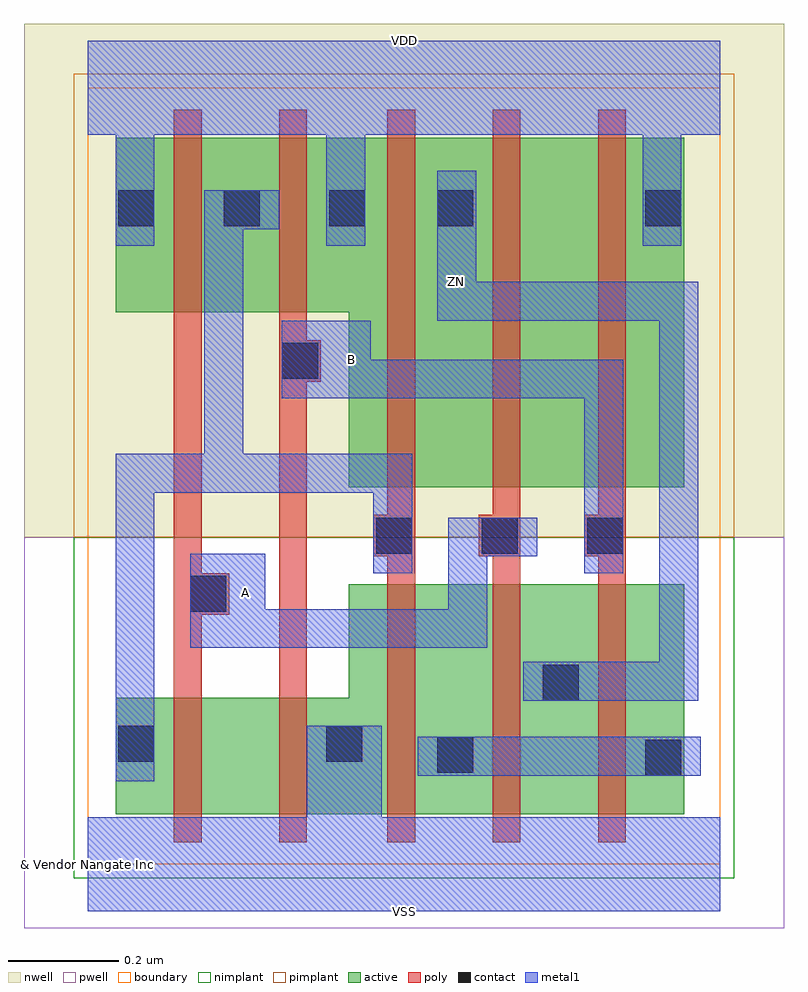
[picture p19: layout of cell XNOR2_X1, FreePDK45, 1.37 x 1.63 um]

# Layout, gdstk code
import gdstk
lib = gdstk.Library(unit=1e-6, precision=1e-09)
def R(c, l, rs):  # rectangles x0, y0, x1, y1
    for r in rs: c.add(gdstk.rectangle(r[:2], r[2:], *l))
def A(c, l, x, y, w, h, nx, ny, dx, dy):  # array of equal rectangles
    R(c, l, [(x+i*dx, y+j*dy, x+i*dx+w, y+j*dy+h) for i in range(nx) for j in range(ny)])
def P(c, l, *ps):  # polygons
    for p in ps: c.add(gdstk.Polygon(p, *l))
active = (1, 0)
pwell = (2, 0)
nwell = (3, 0)
nimplant = (4, 0)
pimplant = (5, 0)
poly = (9, 0)
contact = (10, 0)
metal1 = (11, 0)
boundary = (235, 0)

xnor2_x1 = lib.new_cell('XNOR2_X1')
P(xnor2_x1, active, [(0.05,0.09),(1.075,0.09),(1.075,0.505),(0.47,0.505),(0.47,0.3),(0.05,0.3)],
  [(0.05,0.995),(0.47,0.995),(0.47,0.68),(1.075,0.68),(1.075,1.31),(0.05,1.31)])
R(xnor2_x1, pwell, [(-0.115,-0.115,1.255,0.59)])
R(xnor2_x1, nwell, [(-0.115,0.59,1.255,1.515)])
R(xnor2_x1, nimplant, [(-0.025,-0.025,1.165,0.59)])
R(xnor2_x1, pimplant, [(-0.025,0.59,1.165,1.425)])
P(xnor2_x1, poly, [(0.155,0.04),(0.205,0.04),(0.205,0.45),(0.255,0.45),(0.255,0.525),(0.205,0.525),(0.205,1.36),(0.155,1.36)],
  [(0.345,0.04),(0.395,0.04),(0.395,0.87),(0.42,0.87),(0.42,0.945),(0.395,0.945),(0.395,1.36),(0.345,1.36)],
  [(0.515,0.555),(0.54,0.555),(0.54,0.04),(0.59,0.04),(0.59,1.36),(0.54,1.36),(0.54,0.63),(0.515,0.63)],
  [(0.705,0.555),(0.73,0.555),(0.73,0.04),(0.78,0.04),(0.78,1.36),(0.73,1.36),(0.73,0.63),(0.705,0.63)],
  [(0.895,0.555),(0.92,0.555),(0.92,0.04),(0.97,0.04),(0.97,1.36),(0.92,1.36),(0.92,0.63),(0.895,0.63)])
A(xnor2_x1, contact, 0.52, 0.56, 0.065, 0.065, 3, 1, 0.19, 0)
A(xnor2_x1, contact, 0.055, 1.15, 0.065, 0.065, 3, 1, 0.19, 0)
R(xnor2_x1, contact, [(1.005,0.16,1.07,0.225), (0.63,0.165,0.695,0.23), (0.055,0.185,0.12,0.25), (0.43,0.185,0.495,0.25), (0.82,0.295,0.885,0.36), (0.185,0.455,0.25,0.52), (0.35,0.875,0.415,0.94), (0.63,1.15,0.695,1.215), (1.005,1.15,1.07,1.215)])
R(xnor2_x1, metal1, [(0.595,0.16,1.105,0.23)])
P(xnor2_x1, metal1, [(0.05,0.15),(0.12,0.15),(0.12,0.67),(0.515,0.67),(0.515,0.525),(0.585,0.525),(0.585,0.74),(0.28,0.74),(0.28,1.145),(0.345,1.145),(0.345,1.215),(0.21,1.215),(0.21,0.74),(0.05,0.74)],
  [(0.185,0.39),(0.72,0.39),(0.72,0.555),(0.81,0.555),(0.81,0.625),(0.65,0.625),(0.65,0.46),(0.32,0.46),(0.32,0.56),(0.185,0.56)],
  [(0.35,0.84),(0.895,0.84),(0.895,0.525),(0.965,0.525),(0.965,0.91),(0.51,0.91),(0.51,0.98),(0.35,0.98)],
  [(0.63,0.98),(1.03,0.98),(1.03,0.365),(0.785,0.365),(0.785,0.295),(1.1,0.295),(1.1,1.05),(0.7,1.05),(0.7,1.25),(0.63,1.25)],
  [(0,-0.085),(1.14,-0.085),(1.14,0.085),(0.53,0.085),(0.53,0.25),(0.395,0.25),(0.395,0.085),(0,0.085)],
  [(0,1.315),(0.05,1.315),(0.05,1.115),(0.12,1.115),(0.12,1.315),(0.43,1.315),(0.43,1.115),(0.5,1.115),(0.5,1.315),(1,1.315),(1,1.115),(1.07,1.115),(1.07,1.315),(1.14,1.315),(1.14,1.485),(0,1.485)])
R(xnor2_x1, boundary, [(0,0,1.14,1.4)])
xnor2_x1.add(gdstk.Label('A', (0.285,0.49), layer=11, texttype=0))
xnor2_x1.add(gdstk.Label('B', (0.475,0.91), layer=11, texttype=0))
xnor2_x1.add(gdstk.Label('VDD', (0.57,1.485), layer=11, texttype=0))
xnor2_x1.add(gdstk.Label('VSS', (0.57,-0.085), layer=11, texttype=0))
xnor2_x1.add(gdstk.Label('ZN', (0.665,1.05), layer=11, texttype=0))
xnor2_x1.add(gdstk.Label('& Vendor Nangate Inc', (0,0), layer=63, texttype=63))
xnor2_x1.add(gdstk.Label('& Product Open Cell Library', (0,0), layer=63, texttype=63))
xnor2_x1.add(gdstk.Label('& Version 2010_12', (0,0), layer=63, texttype=63))
xnor2_x1.add(gdstk.Label('& Instance XNOR2_X1', (0,0), layer=63, texttype=63))

lib.write_gds('XNOR2_X1.gds')
